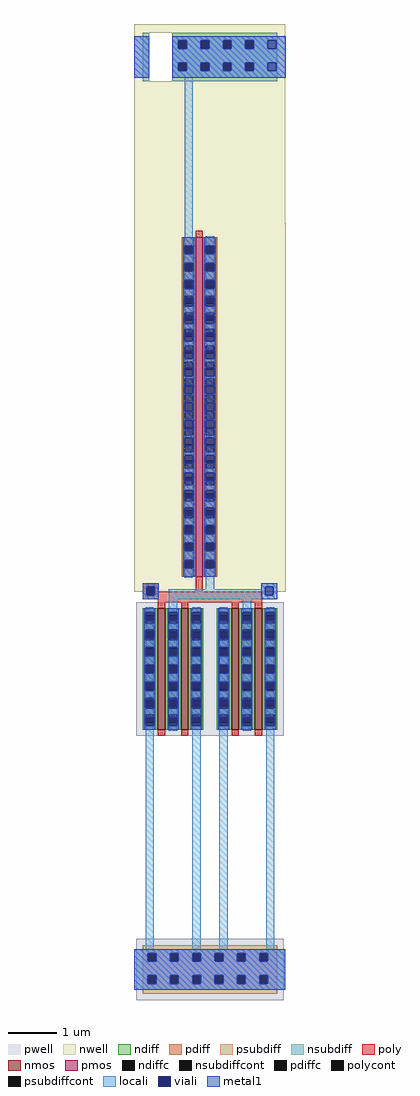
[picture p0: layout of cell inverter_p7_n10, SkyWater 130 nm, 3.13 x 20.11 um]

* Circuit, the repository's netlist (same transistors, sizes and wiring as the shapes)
* NGSPICE file created from inverter_p7_n10.ext - technology: sky130A

.subckt sky130_fd_pr__nfet_01v8_V2VUT3 a_n33_n250# a_n125_n250# a_63_n250# a_n63_n276#
+ VSUBS
X0 a_n33_n250# a_n63_n276# a_n125_n250# VSUBS sky130_fd_pr__nfet_01v8 ad=0.4125 pd=2.83 as=0.775 ps=5.62 w=2.5 l=0.15
X1 a_63_n250# a_n63_n276# a_n33_n250# VSUBS sky130_fd_pr__nfet_01v8 ad=0.775 pd=5.62 as=0.4125 ps=2.83 w=2.5 l=0.15
.ends

.subckt sky130_fd_pr__pfet_01v8_VGLYR5 a_n73_n700# w_n109_n762# a_15_n700# a_n15_n726#
X0 a_15_n700# a_n15_n726# a_n73_n700# w_n109_n762# sky130_fd_pr__pfet_01v8 ad=2.03 pd=14.58 as=2.03 ps=14.58 w=7 l=0.15
.ends

.subckt inverter_p7_n10 VDPWR Vout Vin VGND
Xsky130_fd_pr__nfet_01v8_V2VUT3_0 Vout VGND VGND Vin VGND sky130_fd_pr__nfet_01v8_V2VUT3
Xsky130_fd_pr__nfet_01v8_V2VUT3_1 Vout VGND VGND Vin VGND sky130_fd_pr__nfet_01v8_V2VUT3
Xsky130_fd_pr__pfet_01v8_VGLYR5_0 VDPWR VDPWR Vout Vin sky130_fd_pr__pfet_01v8_VGLYR5
.ends

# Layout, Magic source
magic
tech sky130A
magscale 1 2
<< nwell >>
rect -36 2960 588 2996
rect -36 2760 26 2960
rect 122 2760 588 2960
rect -36 2172 588 2760
rect -36 656 590 2172
<< pwell >>
rect -26 -1026 580 -774
<< psubdiff >>
rect 0 -833 554 -800
rect 0 -867 21 -833
rect 55 -867 113 -833
rect 147 -867 205 -833
rect 239 -867 297 -833
rect 331 -867 389 -833
rect 423 -867 481 -833
rect 515 -867 554 -833
rect 0 -925 554 -867
rect 0 -959 21 -925
rect 55 -959 113 -925
rect 147 -959 205 -925
rect 239 -959 297 -925
rect 331 -959 389 -925
rect 423 -959 481 -925
rect 515 -959 554 -925
rect 0 -1000 554 -959
<< nsubdiff >>
rect 0 2760 26 2960
rect 122 2929 554 2960
rect 122 2895 147 2929
rect 181 2895 239 2929
rect 273 2895 331 2929
rect 365 2895 423 2929
rect 457 2895 554 2929
rect 122 2837 554 2895
rect 122 2803 147 2837
rect 181 2803 239 2837
rect 273 2803 331 2837
rect 365 2803 423 2837
rect 457 2803 554 2837
rect 122 2760 554 2803
<< psubdiffcont >>
rect 21 -867 55 -833
rect 113 -867 147 -833
rect 205 -867 239 -833
rect 297 -867 331 -833
rect 389 -867 423 -833
rect 481 -867 515 -833
rect 21 -959 55 -925
rect 113 -959 147 -925
rect 205 -959 239 -925
rect 297 -959 331 -925
rect 389 -959 423 -925
rect 481 -959 515 -925
<< nsubdiffcont >>
rect 147 2895 181 2929
rect 239 2895 273 2929
rect 331 2895 365 2929
rect 423 2895 457 2929
rect 147 2803 181 2837
rect 239 2803 273 2837
rect 331 2803 365 2837
rect 423 2803 457 2837
<< poly >>
rect 0 676 66 692
rect 0 642 16 676
rect 50 656 66 676
rect 218 656 248 692
rect 50 644 492 656
rect 50 642 66 644
rect 0 626 66 642
rect 188 614 366 644
<< polycont >>
rect 16 642 50 676
<< locali >>
rect -36 2774 26 2946
rect 122 2929 590 2946
rect 122 2895 147 2929
rect 181 2895 239 2929
rect 273 2895 331 2929
rect 365 2895 423 2929
rect 457 2895 515 2929
rect 549 2895 590 2929
rect 122 2837 590 2895
rect 122 2803 147 2837
rect 181 2803 239 2837
rect 273 2803 331 2837
rect 365 2803 423 2837
rect 457 2803 515 2837
rect 549 2803 590 2837
rect 122 2774 590 2803
rect 172 2106 206 2774
rect 0 676 66 692
rect 0 642 16 676
rect 50 642 66 676
rect 260 666 294 714
rect 488 676 554 692
rect 488 666 504 676
rect 0 626 66 642
rect 108 642 504 666
rect 538 642 554 676
rect 108 626 554 642
rect 108 576 142 626
rect 412 592 446 626
rect 12 -816 46 84
rect 204 -816 238 84
rect 316 -816 350 84
rect 508 -816 542 84
rect -36 -833 588 -816
rect -36 -867 21 -833
rect 55 -867 113 -833
rect 147 -867 205 -833
rect 239 -867 297 -833
rect 331 -867 389 -833
rect 423 -867 481 -833
rect 515 -867 588 -833
rect -36 -925 588 -867
rect -36 -959 21 -925
rect 55 -959 113 -925
rect 147 -959 205 -925
rect 239 -959 297 -925
rect 331 -959 389 -925
rect 423 -959 481 -925
rect 515 -959 588 -925
rect -36 -984 588 -959
<< viali >>
rect 147 2895 181 2929
rect 239 2895 273 2929
rect 331 2895 365 2929
rect 423 2895 457 2929
rect 515 2895 549 2929
rect 147 2803 181 2837
rect 239 2803 273 2837
rect 331 2803 365 2837
rect 423 2803 457 2837
rect 515 2803 549 2837
rect 16 642 50 676
rect 504 642 538 676
rect 21 -867 55 -833
rect 113 -867 147 -833
rect 205 -867 239 -833
rect 297 -867 331 -833
rect 389 -867 423 -833
rect 481 -867 515 -833
rect 21 -959 55 -925
rect 113 -959 147 -925
rect 205 -959 239 -925
rect 297 -959 331 -925
rect 389 -959 423 -925
rect 481 -959 515 -925
<< metal1 >>
rect -36 2774 26 2946
rect 122 2929 590 2946
rect 122 2895 147 2929
rect 181 2895 239 2929
rect 273 2895 331 2929
rect 365 2895 423 2929
rect 457 2895 515 2929
rect 549 2895 590 2929
rect 122 2837 590 2895
rect 122 2803 147 2837
rect 181 2803 239 2837
rect 273 2803 331 2837
rect 365 2803 423 2837
rect 457 2803 515 2837
rect 549 2803 590 2837
rect 122 2774 590 2803
rect 0 676 66 692
rect 0 642 16 676
rect 50 642 66 676
rect 0 626 66 642
rect 488 676 554 692
rect 488 642 504 676
rect 538 642 554 676
rect 488 626 554 642
rect -36 -833 588 -816
rect -36 -867 21 -833
rect 55 -867 113 -833
rect 147 -867 205 -833
rect 239 -867 297 -833
rect 331 -867 389 -833
rect 423 -867 481 -833
rect 515 -867 588 -833
rect -36 -925 588 -867
rect -36 -959 21 -925
rect 55 -959 113 -925
rect 147 -959 205 -925
rect 239 -959 297 -925
rect 331 -959 389 -925
rect 423 -959 481 -925
rect 515 -959 588 -925
rect -36 -984 588 -959
use sky130_fd_pr__nfet_01v8_V2VUT3  sky130_fd_pr__nfet_01v8_V2VUT3_0
transform 1 0 125 0 1 338
box -151 -276 151 306
use sky130_fd_pr__nfet_01v8_V2VUT3  sky130_fd_pr__nfet_01v8_V2VUT3_1
transform 1 0 429 0 1 338
box -151 -276 151 306
use sky130_fd_pr__pfet_01v8_VGLYR5  sky130_fd_pr__pfet_01v8_VGLYR5_0
transform 1 0 233 0 1 1418
box -109 -762 109 762
<< end >>

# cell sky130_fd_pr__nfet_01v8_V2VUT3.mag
magic
tech sky130A
magscale 1 2
<< pwell >>
rect -151 -276 151 276
<< nmos >>
rect -63 -250 -33 250
rect 33 -250 63 250
<< ndiff >>
rect -125 221 -63 250
rect -125 187 -113 221
rect -79 187 -63 221
rect -125 153 -63 187
rect -125 119 -113 153
rect -79 119 -63 153
rect -125 85 -63 119
rect -125 51 -113 85
rect -79 51 -63 85
rect -125 17 -63 51
rect -125 -17 -113 17
rect -79 -17 -63 17
rect -125 -51 -63 -17
rect -125 -85 -113 -51
rect -79 -85 -63 -51
rect -125 -119 -63 -85
rect -125 -153 -113 -119
rect -79 -153 -63 -119
rect -125 -187 -63 -153
rect -125 -221 -113 -187
rect -79 -221 -63 -187
rect -125 -250 -63 -221
rect -33 221 33 250
rect -33 187 -17 221
rect 17 187 33 221
rect -33 153 33 187
rect -33 119 -17 153
rect 17 119 33 153
rect -33 85 33 119
rect -33 51 -17 85
rect 17 51 33 85
rect -33 17 33 51
rect -33 -17 -17 17
rect 17 -17 33 17
rect -33 -51 33 -17
rect -33 -85 -17 -51
rect 17 -85 33 -51
rect -33 -119 33 -85
rect -33 -153 -17 -119
rect 17 -153 33 -119
rect -33 -187 33 -153
rect -33 -221 -17 -187
rect 17 -221 33 -187
rect -33 -250 33 -221
rect 63 221 125 250
rect 63 187 79 221
rect 113 187 125 221
rect 63 153 125 187
rect 63 119 79 153
rect 113 119 125 153
rect 63 85 125 119
rect 63 51 79 85
rect 113 51 125 85
rect 63 17 125 51
rect 63 -17 79 17
rect 113 -17 125 17
rect 63 -51 125 -17
rect 63 -85 79 -51
rect 113 -85 125 -51
rect 63 -119 125 -85
rect 63 -153 79 -119
rect 113 -153 125 -119
rect 63 -187 125 -153
rect 63 -221 79 -187
rect 113 -221 125 -187
rect 63 -250 125 -221
<< ndiffc >>
rect -113 187 -79 221
rect -113 119 -79 153
rect -113 51 -79 85
rect -113 -17 -79 17
rect -113 -85 -79 -51
rect -113 -153 -79 -119
rect -113 -221 -79 -187
rect -17 187 17 221
rect -17 119 17 153
rect -17 51 17 85
rect -17 -17 17 17
rect -17 -85 17 -51
rect -17 -153 17 -119
rect -17 -221 17 -187
rect 79 187 113 221
rect 79 119 113 153
rect 79 51 113 85
rect 79 -17 113 17
rect 79 -85 113 -51
rect 79 -153 113 -119
rect 79 -221 113 -187
<< poly >>
rect -63 276 63 306
rect -63 250 -33 276
rect 33 250 63 276
rect -63 -276 -33 -250
rect 33 -276 63 -250
<< locali >>
rect -113 233 -79 254
rect -113 161 -79 187
rect -113 89 -79 119
rect -113 17 -79 51
rect -113 -51 -79 -17
rect -113 -119 -79 -89
rect -113 -187 -79 -161
rect -113 -254 -79 -233
rect -17 233 17 254
rect -17 161 17 187
rect -17 89 17 119
rect -17 17 17 51
rect -17 -51 17 -17
rect -17 -119 17 -89
rect -17 -187 17 -161
rect -17 -254 17 -233
rect 79 233 113 254
rect 79 161 113 187
rect 79 89 113 119
rect 79 17 113 51
rect 79 -51 113 -17
rect 79 -119 113 -89
rect 79 -187 113 -161
rect 79 -254 113 -233
<< viali >>
rect -113 221 -79 233
rect -113 199 -79 221
rect -113 153 -79 161
rect -113 127 -79 153
rect -113 85 -79 89
rect -113 55 -79 85
rect -113 -17 -79 17
rect -113 -85 -79 -55
rect -113 -89 -79 -85
rect -113 -153 -79 -127
rect -113 -161 -79 -153
rect -113 -221 -79 -199
rect -113 -233 -79 -221
rect -17 221 17 233
rect -17 199 17 221
rect -17 153 17 161
rect -17 127 17 153
rect -17 85 17 89
rect -17 55 17 85
rect -17 -17 17 17
rect -17 -85 17 -55
rect -17 -89 17 -85
rect -17 -153 17 -127
rect -17 -161 17 -153
rect -17 -221 17 -199
rect -17 -233 17 -221
rect 79 221 113 233
rect 79 199 113 221
rect 79 153 113 161
rect 79 127 113 153
rect 79 85 113 89
rect 79 55 113 85
rect 79 -17 113 17
rect 79 -85 113 -55
rect 79 -89 113 -85
rect 79 -153 113 -127
rect 79 -161 113 -153
rect 79 -221 113 -199
rect 79 -233 113 -221
<< metal1 >>
rect -119 233 -73 250
rect -119 199 -113 233
rect -79 199 -73 233
rect -119 161 -73 199
rect -119 127 -113 161
rect -79 127 -73 161
rect -119 89 -73 127
rect -119 55 -113 89
rect -79 55 -73 89
rect -119 17 -73 55
rect -119 -17 -113 17
rect -79 -17 -73 17
rect -119 -55 -73 -17
rect -119 -89 -113 -55
rect -79 -89 -73 -55
rect -119 -127 -73 -89
rect -119 -161 -113 -127
rect -79 -161 -73 -127
rect -119 -199 -73 -161
rect -119 -233 -113 -199
rect -79 -233 -73 -199
rect -119 -250 -73 -233
rect -23 233 23 250
rect -23 199 -17 233
rect 17 199 23 233
rect -23 161 23 199
rect -23 127 -17 161
rect 17 127 23 161
rect -23 89 23 127
rect -23 55 -17 89
rect 17 55 23 89
rect -23 17 23 55
rect -23 -17 -17 17
rect 17 -17 23 17
rect -23 -55 23 -17
rect -23 -89 -17 -55
rect 17 -89 23 -55
rect -23 -127 23 -89
rect -23 -161 -17 -127
rect 17 -161 23 -127
rect -23 -199 23 -161
rect -23 -233 -17 -199
rect 17 -233 23 -199
rect -23 -250 23 -233
rect 73 233 119 250
rect 73 199 79 233
rect 113 199 119 233
rect 73 161 119 199
rect 73 127 79 161
rect 113 127 119 161
rect 73 89 119 127
rect 73 55 79 89
rect 113 55 119 89
rect 73 17 119 55
rect 73 -17 79 17
rect 113 -17 119 17
rect 73 -55 119 -17
rect 73 -89 79 -55
rect 113 -89 119 -55
rect 73 -127 119 -89
rect 73 -161 79 -127
rect 113 -161 119 -127
rect 73 -199 119 -161
rect 73 -233 79 -199
rect 113 -233 119 -199
rect 73 -250 119 -233
<< end >>

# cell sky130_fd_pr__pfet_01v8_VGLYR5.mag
magic
tech sky130A
magscale 1 2
<< nwell >>
rect -109 -762 109 762
<< pmos >>
rect -15 -700 15 700
<< pdiff >>
rect -73 663 -15 700
rect -73 629 -61 663
rect -27 629 -15 663
rect -73 595 -15 629
rect -73 561 -61 595
rect -27 561 -15 595
rect -73 527 -15 561
rect -73 493 -61 527
rect -27 493 -15 527
rect -73 459 -15 493
rect -73 425 -61 459
rect -27 425 -15 459
rect -73 391 -15 425
rect -73 357 -61 391
rect -27 357 -15 391
rect -73 323 -15 357
rect -73 289 -61 323
rect -27 289 -15 323
rect -73 255 -15 289
rect -73 221 -61 255
rect -27 221 -15 255
rect -73 187 -15 221
rect -73 153 -61 187
rect -27 153 -15 187
rect -73 119 -15 153
rect -73 85 -61 119
rect -27 85 -15 119
rect -73 51 -15 85
rect -73 17 -61 51
rect -27 17 -15 51
rect -73 -17 -15 17
rect -73 -51 -61 -17
rect -27 -51 -15 -17
rect -73 -85 -15 -51
rect -73 -119 -61 -85
rect -27 -119 -15 -85
rect -73 -153 -15 -119
rect -73 -187 -61 -153
rect -27 -187 -15 -153
rect -73 -221 -15 -187
rect -73 -255 -61 -221
rect -27 -255 -15 -221
rect -73 -289 -15 -255
rect -73 -323 -61 -289
rect -27 -323 -15 -289
rect -73 -357 -15 -323
rect -73 -391 -61 -357
rect -27 -391 -15 -357
rect -73 -425 -15 -391
rect -73 -459 -61 -425
rect -27 -459 -15 -425
rect -73 -493 -15 -459
rect -73 -527 -61 -493
rect -27 -527 -15 -493
rect -73 -561 -15 -527
rect -73 -595 -61 -561
rect -27 -595 -15 -561
rect -73 -629 -15 -595
rect -73 -663 -61 -629
rect -27 -663 -15 -629
rect -73 -700 -15 -663
rect 15 663 73 700
rect 15 629 27 663
rect 61 629 73 663
rect 15 595 73 629
rect 15 561 27 595
rect 61 561 73 595
rect 15 527 73 561
rect 15 493 27 527
rect 61 493 73 527
rect 15 459 73 493
rect 15 425 27 459
rect 61 425 73 459
rect 15 391 73 425
rect 15 357 27 391
rect 61 357 73 391
rect 15 323 73 357
rect 15 289 27 323
rect 61 289 73 323
rect 15 255 73 289
rect 15 221 27 255
rect 61 221 73 255
rect 15 187 73 221
rect 15 153 27 187
rect 61 153 73 187
rect 15 119 73 153
rect 15 85 27 119
rect 61 85 73 119
rect 15 51 73 85
rect 15 17 27 51
rect 61 17 73 51
rect 15 -17 73 17
rect 15 -51 27 -17
rect 61 -51 73 -17
rect 15 -85 73 -51
rect 15 -119 27 -85
rect 61 -119 73 -85
rect 15 -153 73 -119
rect 15 -187 27 -153
rect 61 -187 73 -153
rect 15 -221 73 -187
rect 15 -255 27 -221
rect 61 -255 73 -221
rect 15 -289 73 -255
rect 15 -323 27 -289
rect 61 -323 73 -289
rect 15 -357 73 -323
rect 15 -391 27 -357
rect 61 -391 73 -357
rect 15 -425 73 -391
rect 15 -459 27 -425
rect 61 -459 73 -425
rect 15 -493 73 -459
rect 15 -527 27 -493
rect 61 -527 73 -493
rect 15 -561 73 -527
rect 15 -595 27 -561
rect 61 -595 73 -561
rect 15 -629 73 -595
rect 15 -663 27 -629
rect 61 -663 73 -629
rect 15 -700 73 -663
<< pdiffc >>
rect -61 629 -27 663
rect -61 561 -27 595
rect -61 493 -27 527
rect -61 425 -27 459
rect -61 357 -27 391
rect -61 289 -27 323
rect -61 221 -27 255
rect -61 153 -27 187
rect -61 85 -27 119
rect -61 17 -27 51
rect -61 -51 -27 -17
rect -61 -119 -27 -85
rect -61 -187 -27 -153
rect -61 -255 -27 -221
rect -61 -323 -27 -289
rect -61 -391 -27 -357
rect -61 -459 -27 -425
rect -61 -527 -27 -493
rect -61 -595 -27 -561
rect -61 -663 -27 -629
rect 27 629 61 663
rect 27 561 61 595
rect 27 493 61 527
rect 27 425 61 459
rect 27 357 61 391
rect 27 289 61 323
rect 27 221 61 255
rect 27 153 61 187
rect 27 85 61 119
rect 27 17 61 51
rect 27 -51 61 -17
rect 27 -119 61 -85
rect 27 -187 61 -153
rect 27 -255 61 -221
rect 27 -323 61 -289
rect 27 -391 61 -357
rect 27 -459 61 -425
rect 27 -527 61 -493
rect 27 -595 61 -561
rect 27 -663 61 -629
<< poly >>
rect -15 700 15 726
rect -15 -726 15 -700
<< locali >>
rect -61 665 -27 704
rect -61 595 -27 629
rect -61 527 -27 559
rect -61 459 -27 487
rect -61 391 -27 415
rect -61 323 -27 343
rect -61 255 -27 271
rect -61 187 -27 199
rect -61 119 -27 127
rect -61 51 -27 55
rect -61 -55 -27 -51
rect -61 -127 -27 -119
rect -61 -199 -27 -187
rect -61 -271 -27 -255
rect -61 -343 -27 -323
rect -61 -415 -27 -391
rect -61 -487 -27 -459
rect -61 -559 -27 -527
rect -61 -629 -27 -595
rect -61 -704 -27 -665
rect 27 665 61 704
rect 27 595 61 629
rect 27 527 61 559
rect 27 459 61 487
rect 27 391 61 415
rect 27 323 61 343
rect 27 255 61 271
rect 27 187 61 199
rect 27 119 61 127
rect 27 51 61 55
rect 27 -55 61 -51
rect 27 -127 61 -119
rect 27 -199 61 -187
rect 27 -271 61 -255
rect 27 -343 61 -323
rect 27 -415 61 -391
rect 27 -487 61 -459
rect 27 -559 61 -527
rect 27 -629 61 -595
rect 27 -704 61 -665
<< viali >>
rect -61 663 -27 665
rect -61 631 -27 663
rect -61 561 -27 593
rect -61 559 -27 561
rect -61 493 -27 521
rect -61 487 -27 493
rect -61 425 -27 449
rect -61 415 -27 425
rect -61 357 -27 377
rect -61 343 -27 357
rect -61 289 -27 305
rect -61 271 -27 289
rect -61 221 -27 233
rect -61 199 -27 221
rect -61 153 -27 161
rect -61 127 -27 153
rect -61 85 -27 89
rect -61 55 -27 85
rect -61 -17 -27 17
rect -61 -85 -27 -55
rect -61 -89 -27 -85
rect -61 -153 -27 -127
rect -61 -161 -27 -153
rect -61 -221 -27 -199
rect -61 -233 -27 -221
rect -61 -289 -27 -271
rect -61 -305 -27 -289
rect -61 -357 -27 -343
rect -61 -377 -27 -357
rect -61 -425 -27 -415
rect -61 -449 -27 -425
rect -61 -493 -27 -487
rect -61 -521 -27 -493
rect -61 -561 -27 -559
rect -61 -593 -27 -561
rect -61 -663 -27 -631
rect -61 -665 -27 -663
rect 27 663 61 665
rect 27 631 61 663
rect 27 561 61 593
rect 27 559 61 561
rect 27 493 61 521
rect 27 487 61 493
rect 27 425 61 449
rect 27 415 61 425
rect 27 357 61 377
rect 27 343 61 357
rect 27 289 61 305
rect 27 271 61 289
rect 27 221 61 233
rect 27 199 61 221
rect 27 153 61 161
rect 27 127 61 153
rect 27 85 61 89
rect 27 55 61 85
rect 27 -17 61 17
rect 27 -85 61 -55
rect 27 -89 61 -85
rect 27 -153 61 -127
rect 27 -161 61 -153
rect 27 -221 61 -199
rect 27 -233 61 -221
rect 27 -289 61 -271
rect 27 -305 61 -289
rect 27 -357 61 -343
rect 27 -377 61 -357
rect 27 -425 61 -415
rect 27 -449 61 -425
rect 27 -493 61 -487
rect 27 -521 61 -493
rect 27 -561 61 -559
rect 27 -593 61 -561
rect 27 -663 61 -631
rect 27 -665 61 -663
<< metal1 >>
rect -67 665 -21 700
rect -67 631 -61 665
rect -27 631 -21 665
rect -67 593 -21 631
rect -67 559 -61 593
rect -27 559 -21 593
rect -67 521 -21 559
rect -67 487 -61 521
rect -27 487 -21 521
rect -67 449 -21 487
rect -67 415 -61 449
rect -27 415 -21 449
rect -67 377 -21 415
rect -67 343 -61 377
rect -27 343 -21 377
rect -67 305 -21 343
rect -67 271 -61 305
rect -27 271 -21 305
rect -67 233 -21 271
rect -67 199 -61 233
rect -27 199 -21 233
rect -67 161 -21 199
rect -67 127 -61 161
rect -27 127 -21 161
rect -67 89 -21 127
rect -67 55 -61 89
rect -27 55 -21 89
rect -67 17 -21 55
rect -67 -17 -61 17
rect -27 -17 -21 17
rect -67 -55 -21 -17
rect -67 -89 -61 -55
rect -27 -89 -21 -55
rect -67 -127 -21 -89
rect -67 -161 -61 -127
rect -27 -161 -21 -127
rect -67 -199 -21 -161
rect -67 -233 -61 -199
rect -27 -233 -21 -199
rect -67 -271 -21 -233
rect -67 -305 -61 -271
rect -27 -305 -21 -271
rect -67 -343 -21 -305
rect -67 -377 -61 -343
rect -27 -377 -21 -343
rect -67 -415 -21 -377
rect -67 -449 -61 -415
rect -27 -449 -21 -415
rect -67 -487 -21 -449
rect -67 -521 -61 -487
rect -27 -521 -21 -487
rect -67 -559 -21 -521
rect -67 -593 -61 -559
rect -27 -593 -21 -559
rect -67 -631 -21 -593
rect -67 -665 -61 -631
rect -27 -665 -21 -631
rect -67 -700 -21 -665
rect 21 665 67 700
rect 21 631 27 665
rect 61 631 67 665
rect 21 593 67 631
rect 21 559 27 593
rect 61 559 67 593
rect 21 521 67 559
rect 21 487 27 521
rect 61 487 67 521
rect 21 449 67 487
rect 21 415 27 449
rect 61 415 67 449
rect 21 377 67 415
rect 21 343 27 377
rect 61 343 67 377
rect 21 305 67 343
rect 21 271 27 305
rect 61 271 67 305
rect 21 233 67 271
rect 21 199 27 233
rect 61 199 67 233
rect 21 161 67 199
rect 21 127 27 161
rect 61 127 67 161
rect 21 89 67 127
rect 21 55 27 89
rect 61 55 67 89
rect 21 17 67 55
rect 21 -17 27 17
rect 61 -17 67 17
rect 21 -55 67 -17
rect 21 -89 27 -55
rect 61 -89 67 -55
rect 21 -127 67 -89
rect 21 -161 27 -127
rect 61 -161 67 -127
rect 21 -199 67 -161
rect 21 -233 27 -199
rect 61 -233 67 -199
rect 21 -271 67 -233
rect 21 -305 27 -271
rect 61 -305 67 -271
rect 21 -343 67 -305
rect 21 -377 27 -343
rect 61 -377 67 -343
rect 21 -415 67 -377
rect 21 -449 27 -415
rect 61 -449 67 -415
rect 21 -487 67 -449
rect 21 -521 27 -487
rect 61 -521 67 -487
rect 21 -559 67 -521
rect 21 -593 27 -559
rect 61 -593 67 -559
rect 21 -631 67 -593
rect 21 -665 27 -631
rect 61 -665 67 -631
rect 21 -700 67 -665
<< end >>
